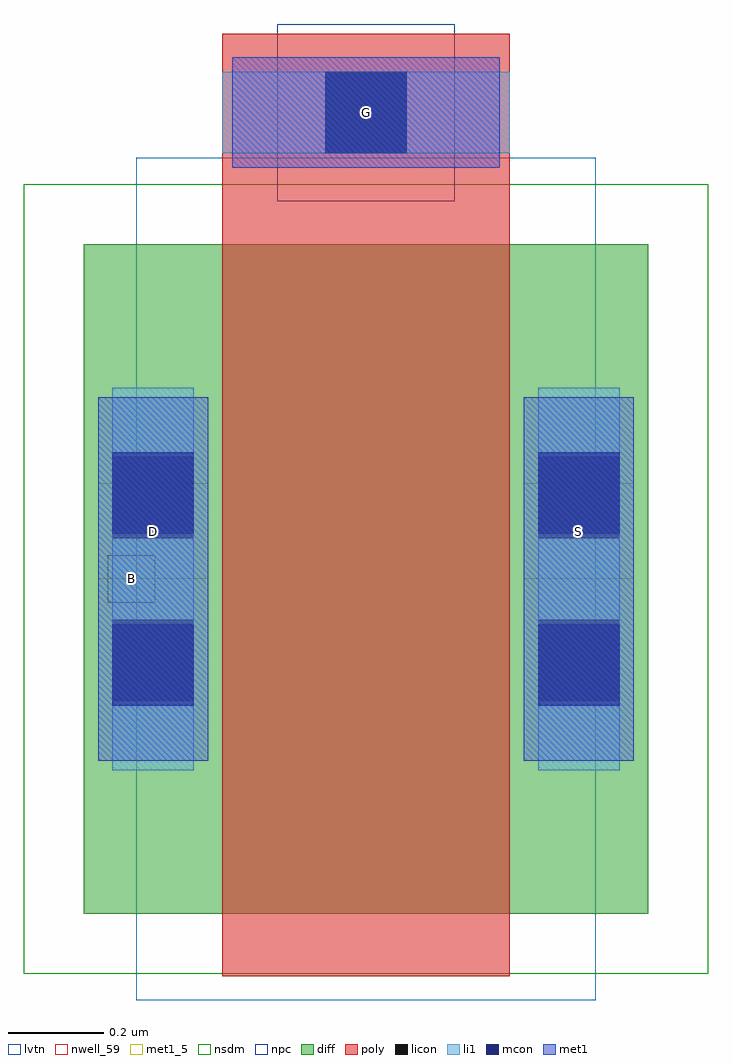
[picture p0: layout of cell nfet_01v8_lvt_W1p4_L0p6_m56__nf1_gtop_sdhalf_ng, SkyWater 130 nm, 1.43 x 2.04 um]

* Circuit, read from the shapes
.subckt nfet_01v8_lvt_W1p4_L0p6_m56__nf1_gtop_sdhalf_ng B D G S
XM1 S G D B sky130_fd_pr__nfet_01v8_lvt w=1.4 l=0.6
.ends

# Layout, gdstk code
import gdstk
lib = gdstk.Library(unit=1e-6, precision=1e-09)
def R(c, l, rs):  # rectangles x0, y0, x1, y1
    for r in rs: c.add(gdstk.rectangle(r[:2], r[2:], *l))
nwell_59 = (64, 59)
diff = (65, 20)
poly = (66, 20)
licon = (66, 44)
li1 = (67, 20)
mcon = (67, 44)
met1_5 = (68, 5)
met1 = (68, 20)
nsdm = (93, 44)
npc = (95, 20)
lvtn = (125, 44)

sky130_fd_pr__nfet_01v8_ = lib.new_cell('sky130_fd_pr__nfet_01v8_lvt_MSZHE2')
R(sky130_fd_pr__nfet_01v8_, diff, [(-0.59,-0.855,0.59,0.545)])
R(sky130_fd_pr__nfet_01v8_, poly, [(-0.3,-0.985,0.3,0.985)])
R(sky130_fd_pr__nfet_01v8_, licon, [(-0.53,-0.41,-0.36,-0.24), (0.36,-0.41,0.53,-0.24), (-0.53,-0.07,-0.36,0.1), (0.36,-0.07,0.53,0.1), (-0.085,0.735,0.085,0.905)])
R(sky130_fd_pr__nfet_01v8_, li1, [(-0.53,-0.555,-0.36,0.245), (0.36,-0.555,0.53,0.245), (-0.3,0.735,0.3,0.905)])
R(sky130_fd_pr__nfet_01v8_, mcon, [(-0.53,-0.42,-0.36,-0.25), (0.36,-0.42,0.53,-0.25), (-0.53,-0.06,-0.36,0.11), (0.36,-0.06,0.53,0.11), (-0.085,0.735,0.085,0.905)])
R(sky130_fd_pr__nfet_01v8_, met1, [(-0.56,-0.535,-0.33,0.225), (0.33,-0.535,0.56,0.225), (-0.28,0.705,0.28,0.935)])
R(sky130_fd_pr__nfet_01v8_, nsdm, [(-0.715,-0.98,0.715,0.67)])
R(sky130_fd_pr__nfet_01v8_, npc, [(-0.185,0.635,0.185,1.005)])
R(sky130_fd_pr__nfet_01v8_, lvtn, [(-0.48,-1.035,0.48,0.725)])
sky130_fd_pr__nfet_01v8_.add(gdstk.Label('D', (-0.445,-0.155), layer=67, texttype=5))
sky130_fd_pr__nfet_01v8_.add(gdstk.Label('S', (0.445,-0.155), layer=67, texttype=5))
sky130_fd_pr__nfet_01v8_.add(gdstk.Label('G', (0,0.82), layer=67, texttype=5))

nfet_01v8_lvt_w1p4_l0p6_ = lib.new_cell('nfet_01v8_lvt_W1p4_L0p6_m56__nf1_gtop_sdhalf_ng')
R(nfet_01v8_lvt_w1p4_l0p6_, nwell_59, [(0.05,0.78,0.15,0.88)])
R(nfet_01v8_lvt_w1p4_l0p6_, met1_5, [(0.03,0.83,0.26,1.03), (0.92,0.83,1.15,1.03), (0.31,1.69,0.87,1.92)])
R(nfet_01v8_lvt_w1p4_l0p6_, met1, [(0.03,0.83,0.26,1.03), (0.92,0.83,1.15,1.03), (0.31,1.69,0.87,1.92)])
nfet_01v8_lvt_w1p4_l0p6_.add(gdstk.Reference(sky130_fd_pr__nfet_01v8_, (0.59,0.985)))
nfet_01v8_lvt_w1p4_l0p6_.add(gdstk.Label('D', (0.145,0.93), layer=68, texttype=5))
nfet_01v8_lvt_w1p4_l0p6_.add(gdstk.Label('S', (1.035,0.93), layer=68, texttype=5))
nfet_01v8_lvt_w1p4_l0p6_.add(gdstk.Label('G', (0.59,1.805), layer=68, texttype=5))
nfet_01v8_lvt_w1p4_l0p6_.add(gdstk.Label('B', (0.1,0.83), layer=64, texttype=59))

lib.write_gds('nfet_01v8_lvt_W1p4_L0p6_m56__nf1_gtop_sdhalf_ng.gds')
